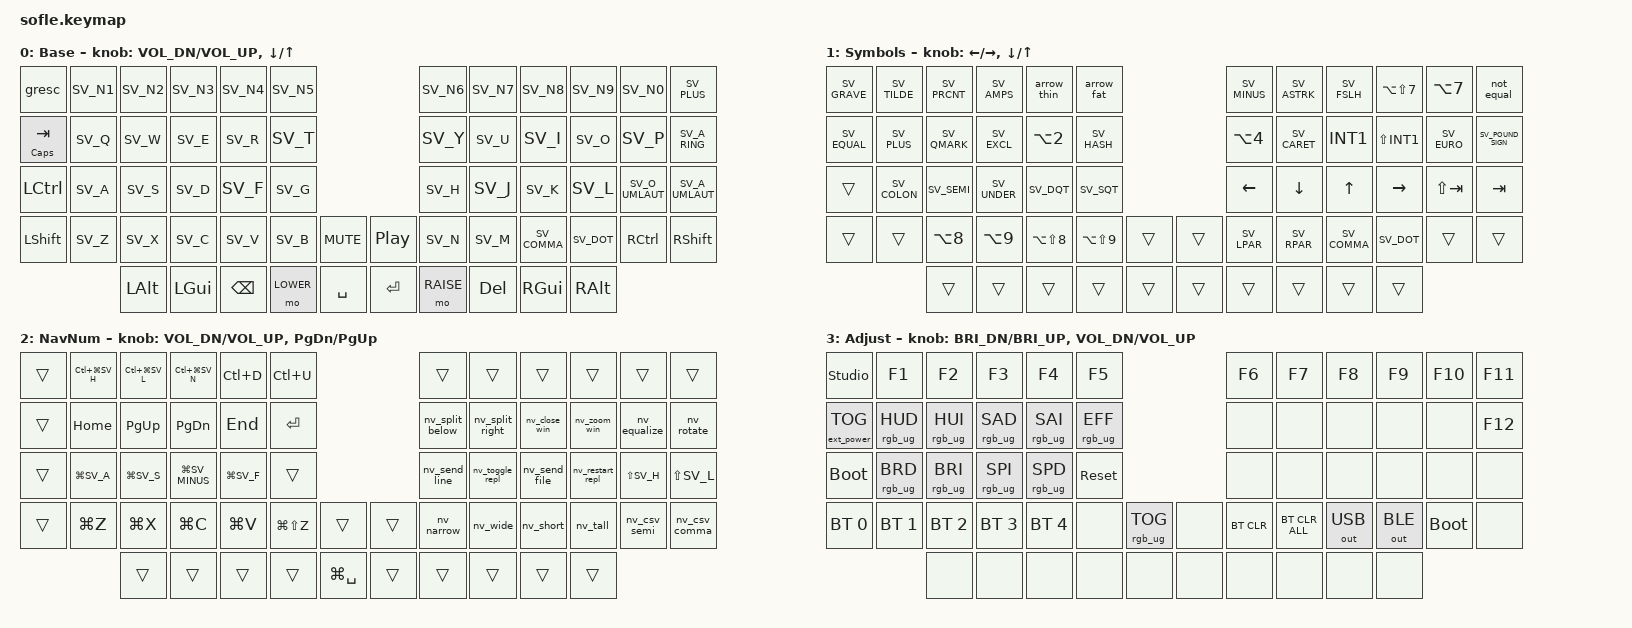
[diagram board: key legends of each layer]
/*
 * Copyright (c) 2020 The ZMK Contributors
 *
 * SPDX-License-Identifier: MIT
 */
#include "keys_sv.h"
#include <behaviors.dtsi>
#include <dt-bindings/zmk/bt.h>
#include <dt-bindings/zmk/ext_power.h>
#include <dt-bindings/zmk/keys.h>
#include <dt-bindings/zmk/outputs.h>
#include <dt-bindings/zmk/pointing.h>
#include <dt-bindings/zmk/rgb.h>

// Encoders & LEDs (matching base config without forcing status = "okay")
&led_strip { chain-length = <30>; };

&sensors { triggers-per-rotation = <30>; };

&left_encoder { steps = <60>; };

&right_encoder { steps = <60>; };

// Tab mod-tap: quick tap = Tab, hold = Caps Lock
&mt {
    tapping-term-ms = <175>;
    quick-tap-ms = <150>;
    flavor = "balanced";
};

#define BASE   0
#define LOWER  1
#define RAISE  2
#define ADJUST 3

/ {
    conditional_layers {
        compatible = "zmk,conditional-layers";

        adjust_layer {
            if-layers = <LOWER RAISE>;
            then-layer = <ADJUST>;
        };
    };

    combos {
        compatible = "zmk,combos";

        // J + K = Escape (instant Normal mode), base layer only
        vim_esc {
            bindings = <&kp ESCAPE>;
            key-positions = <31 32>;
            timeout-ms = <40>;
            layers = <BASE>;
        };

        // Outer home + Right Shift = CAPS_WORD
        caps_word_combo {
            bindings = <&caps>;
            key-positions = <24 49>;
            layers = <BASE>;
        };
    };

    macros {
        // -> (Python type hints / R)
        arrow_thin: arrow_thin {
            compatible = "zmk,behavior-macro";
            #binding-cells = <0>;
            bindings = <&kp SV_MINUS &kp LS(INT1)>;
        };

        // => (Arrow functions / JS / Scala)
        arrow_fat: arrow_fat {
            compatible = "zmk,behavior-macro";
            #binding-cells = <0>;
            bindings = <&kp SV_EQUAL &kp LS(INT1)>;
        };

        // != (SQL / Python / Lua inequality)
        not_equal: not_equal {
            compatible = "zmk,behavior-macro";
            #binding-cells = <0>;
            bindings = <&kp SV_EXCL &kp SV_EQUAL>;
        };

        // Neovim: window management (normal mode)
        nv_split_below: nv_split_below {
            compatible = "zmk,behavior-macro";
            #binding-cells = <0>;
            bindings = <&kp LC(W) &kp SV_S>;
        };

        nv_split_right: nv_split_right {
            compatible = "zmk,behavior-macro";
            #binding-cells = <0>;
            bindings = <&kp LC(W) &kp SV_V>;
        };

        nv_close_win: nv_close_win {
            compatible = "zmk,behavior-macro";
            #binding-cells = <0>;
            bindings = <&kp LC(W) &kp SV_C>;
        };

        nv_zoom_win: nv_zoom_win {
            compatible = "zmk,behavior-macro";
            #binding-cells = <0>;
            bindings = <&kp SPACE &kp SV_W &kp SV_M>;
        };

        nv_equalize: nv_equalize {
            compatible = "zmk,behavior-macro";
            #binding-cells = <0>;
            bindings = <&kp LC(W) &kp SV_EQUAL>;
        };

        nv_rotate: nv_rotate {
            compatible = "zmk,behavior-macro";
            #binding-cells = <0>;
            bindings = <&kp LC(W) &kp SV_R>;
        };

        nv_narrow: nv_narrow {
            compatible = "zmk,behavior-macro";
            #binding-cells = <0>;
            bindings = <&kp LC(W) &kp INT1>;
        };

        nv_wide: nv_wide {
            compatible = "zmk,behavior-macro";
            #binding-cells = <0>;
            bindings = <&kp LC(W) &kp LS(INT1)>;
        };

        nv_short: nv_short {
            compatible = "zmk,behavior-macro";
            #binding-cells = <0>;
            bindings = <&kp LC(W) &kp SV_MINUS>;
        };

        nv_tall: nv_tall {
            compatible = "zmk,behavior-macro";
            #binding-cells = <0>;
            bindings = <&kp LC(W) &kp SV_PLUS>;
        };

        // Neovim: REPL and data (leader is Space)
        nv_send_line: nv_send_line {
            compatible = "zmk,behavior-macro";
            #binding-cells = <0>;
            bindings = <&kp SPACE &kp ENTER>;
        };

        nv_send_file: nv_send_file {
            compatible = "zmk,behavior-macro";
            #binding-cells = <0>;
            bindings = <&kp SPACE &kp LS(ENTER)>;
        };

        nv_toggle_repl: nv_toggle_repl {
            compatible = "zmk,behavior-macro";
            #binding-cells = <0>;
            bindings = <&kp SPACE &kp SV_R &kp SV_I>;
        };

        nv_restart_repl: nv_restart_repl {
            compatible = "zmk,behavior-macro";
            #binding-cells = <0>;
            bindings = <&kp SPACE &kp SV_R &kp LS(SV_I)>;
        };

        nv_csv_semi: nv_csv_semi {
            compatible = "zmk,behavior-macro";
            #binding-cells = <0>;
            bindings = <&kp SPACE &kp SV_C &kp SV_SEMI>;
        };

        nv_csv_comma: nv_csv_comma {
            compatible = "zmk,behavior-macro";
            #binding-cells = <0>;
            bindings = <&kp SPACE &kp SV_C &kp SV_COMMA>;
        };
    };

    behaviors {
        caps: caps {
            compatible = "zmk,behavior-caps-word";
            label = "CAPS";
            #binding-cells = <0>;
            continue-list = <SV_UNDER SV_MINUS BACKSPACE DELETE>;
        };
    };

    keymap {
        compatible = "zmk,keymap";

        default_layer {
            display-name = "Base";

            // |GRV/ESC|  1  |  2  |  3   |  4   |  5   |               |  6   |  7    |  8    |  9   |   0   |   +   |
            // |TAB/CPS|  Q  |  W  |  E   |  R   |  T   |               |  Y   |  U    |  I    |  O   |   P   |   Å   |
            // |  CTL  |  A  |  S  |  D   |  F   |  G   |               |  H   |  J    |  K    |  L   |   Ö   |   Ä   |
            // | SHIFT |  Z  |  X  |  C   |  V   |  B   | MUTE | | PLAY |  N   |  M    |  ,    |  .   |   CTRL   | SHIFT |
            //               | ALT | CMD  | BSPC | LOWER| SPACE| | ENTER| RAISE| DEL   | CMD   | ALT |

            bindings = <
&gresc          &kp SV_N1  &kp SV_N2  &kp SV_N3  &kp SV_N4  &kp SV_N5                                 &kp SV_N6  &kp SV_N7  &kp SV_N8     &kp SV_N9    &kp SV_N0        &kp SV_PLUS
&mt CLCK TAB   &kp SV_Q   &kp SV_W   &kp SV_E   &kp SV_R   &kp SV_T                                  &kp SV_Y   &kp SV_U   &kp SV_I      &kp SV_O     &kp SV_P         &kp SV_A_RING
&kp  LCTL     &kp SV_A   &kp SV_S   &kp SV_D   &kp SV_F   &kp SV_G                                  &kp SV_H   &kp SV_J   &kp SV_K      &kp SV_L     &kp SV_O_UMLAUT  &kp SV_A_UMLAUT
&kp LEFT_SHIFT  &kp SV_Z   &kp SV_X   &kp SV_C   &kp SV_V   &kp SV_B   &kp C_MUTE    &kp C_PLAY_PAUSE &kp SV_N   &kp SV_M   &kp SV_COMMA  &kp SV_DOT   &kp RCTL     &kp RSHFT
                           &kp LALT  &kp LGUI   &kp BSPC   &mo LOWER  &kp SPACE     &kp ENTER        &mo RAISE  &kp DELETE     &kp RGUI       &kp RALT
            >;

            sensor-bindings = <&inc_dec_kp C_VOL_DN C_VOL_UP &inc_dec_kp DOWN UP>;
        };

        lower_layer {
            display-name = "Symbols";

            // |  `    |  ~  |  %  |  &   |  ->  |  =>  |               |  -   |  *    |  /    |  \   |   |   |  !=  |
            // |  =    |  +  |  ?  |  !   |  @   |  #   |               |  $   |  ^    |  <    |  >   |   €   |  £   |
            // | trans |  :  |  ;  |  _   |  "   |  '   |               |  <-  |   v   |   ^   |  ->  | S-TAB | TAB |
            // |  trans  |  trans  |  [  |  ]   |  {   |  }   |MUTE | |PLAY | (  |  ) |  ,   |  .   | trans  | trans |
            //               |trans| trans| trans| trans| trans| |trans| trans| trans| trans| trans|

            bindings = <
&kp SV_GRAVE   &kp SV_TILDE   &kp SV_PRCNT   &kp SV_AMPS   &arrow_thin    &arrow_fat                      &kp SV_MINUS   &kp SV_ASTRK   &kp SV_FSLH    &kp LA(LS(N7)) &kp LA(N7)     &not_equal
&kp SV_EQUAL   &kp SV_PLUS    &kp SV_QMARK   &kp SV_EXCL   &kp LA(N2)     &kp SV_HASH                     &kp LA(N4)     &kp SV_CARET   &kp INT1       &kp LS(INT1)   &kp SV_EURO    &kp SV_POUND_SIGN
&trans         &kp SV_COLON   &kp SV_SEMI    &kp SV_UNDER   &kp SV_DQT     &kp SV_SQT                      &kp LEFT       &kp DOWN       &kp UP         &kp RIGHT      &kp LS(TAB)        &kp TAB
&trans   &trans   &kp LA(N8)     &kp LA(N9)     &kp LA(LS(N8)) &kp LA(LS(N9))   &trans        &trans  &kp SV_LPAR    &kp SV_RPAR       &kp SV_COMMA   &kp SV_DOT     &trans        &trans
                             &trans        &trans        &trans        &trans        &trans    &trans  &trans         &trans         &trans         &trans
            >;

            sensor-bindings =
                <&inc_dec_kp LEFT_ARROW RIGHT_ARROW>,
                <&inc_dec_kp DOWN_ARROW UP_ARROW>;
        };

        raise_layer {
            display-name = "NavNum";

            // | trans | TABprv| TABnxt| TABnew| C-d   | C-u   |              |  6    |  7    |  8    |  9    |  0    |  +    |
            // | trans | Home  | PGUP  | PGDN  | END   | ENTER |              | SPLIT↓| SPLIT→| CLOSE | ZOOM  | EQ    | ROTATE|
            // | trans | SELALL| SAVE  | DEL   | FIND  | trans |              | SEND  | TOGGLE| SENDFL| RESTRT| PREVB | NEXTB |
            // | trans | UNDO  | CUT   | COPY  | PASTE | REDO  | trans| |trans| NARROW| WIDE  | SHORT | TALL  | CSV;  | CSV,  |
            //               |trans| trans| trans| trans|SPOTLIGHT| |trans| trans| trans| trans| trans|

            // Neovim (normal mode): right half = windows, buffers, REPL, CSV. Window focus stays on Cmd+hjkl.
            // WezTerm: Ctrl+Cmd+h/l/n = flik prev/next/ny.
            // Home row left: Cmd+A / Cmd+S / Cmd+- (radera markerade celler) / Cmd+F.
            bindings = <
&trans       &kp LC(LG(SV_H)) &kp LC(LG(SV_L)) &kp LC(LG(SV_N)) &kp LC(D)   &kp LC(U)                       &trans        &trans        &trans        &trans        &trans        &trans
&trans &kp HOME     &kp PG_UP    &kp PG_DN    &kp END     &kp ENTER                       &nv_split_below &nv_split_right &nv_close_win &nv_zoom_win &nv_equalize &nv_rotate
&trans       &kp LG(SV_A) &kp LG(SV_S) &kp LG(SV_MINUS) &kp LG(SV_F) &trans                          &nv_send_line &nv_toggle_repl &nv_send_file &nv_restart_repl &kp LS(SV_H) &kp LS(SV_L)
&trans       &kp LG(Z)     &kp LG(X)     &kp LG(C)     &kp LG(V)   &kp LG(LS(Z)) &trans  &trans  &nv_narrow &nv_wide &nv_short &nv_tall &nv_csv_semi &nv_csv_comma
                          &trans       &trans        &trans        &trans        &kp LG(SPACE)   &trans  &trans        &trans        &trans        &trans
            >;

            sensor-bindings = <&inc_dec_kp C_VOL_DN C_VOL_UP &inc_dec_kp PG_DN PG_UP>;
        };

        adjust_layer {
            display-name = "Adjust";

            // |STUDIO |  F1 |  F2 |  F3  |  F4  |  F5  |               |  F6  |  F7   |  F8   |  F9  |  F10  |  F11  |
            // |EXTPWR |RGBHD|RGBHI|RGBSD |RGBSI |RGBEF |               | none | none  | none  | none | none  |  F12  |
            // |BOOTLDR|RGBBD|RGBBI|RGBSP |RGBSD |SYSRST|               | none | none  | none  | none | none  | none  |
            // |  BT0  | BT1 | BT2 | BT3  | BT4  | none |RGBTOG| | none | BTCLR|BTCLRA |  USB  |  BLE |BOOTLDR| none  |
            //               |none | none | none | none | none | | none | none | none  | none  | none |

            bindings = <
&studio_unlock    &kp F1          &kp F2          &kp F3          &kp F4          &kp F5                                          &kp F6     &kp F7         &kp F8        &kp F9       &kp F10     &kp F11
&ext_power EP_TOG &rgb_ug RGB_HUD &rgb_ug RGB_HUI &rgb_ug RGB_SAD &rgb_ug RGB_SAI &rgb_ug RGB_EFF                                 &none      &none          &none         &none        &none       &kp F12
&bootloader       &rgb_ug RGB_BRD &rgb_ug RGB_BRI &rgb_ug RGB_SPI &rgb_ug RGB_SPD &sys_reset                                      &none      &none          &none         &none        &none       &none
&bt BT_SEL 0      &bt BT_SEL 1    &bt BT_SEL 2    &bt BT_SEL 3    &bt BT_SEL 4    &none            &rgb_ug RGB_TOG    &none       &bt BT_CLR &bt BT_CLR_ALL &out OUT_USB  &out OUT_BLE &bootloader &none
                                  &none           &none           &none           &none            &none              &none       &none      &none          &none         &none
            >;

            sensor-bindings = <&inc_dec_kp C_BRI_DN C_BRI_UP &inc_dec_kp C_VOL_DN C_VOL_UP>;
        };
    };
};
